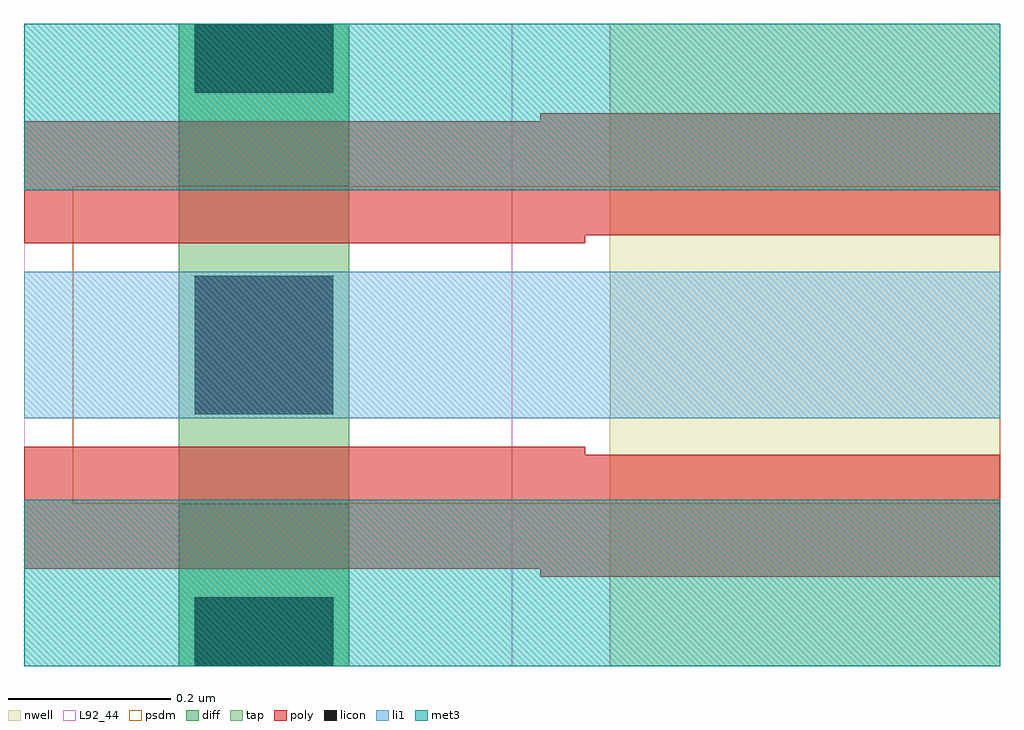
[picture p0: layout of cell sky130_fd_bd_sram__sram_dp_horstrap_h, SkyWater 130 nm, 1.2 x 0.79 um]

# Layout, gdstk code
import gdstk
lib = gdstk.Library(unit=1e-6, precision=1e-09)
def R(c, l, rs):  # rectangles x0, y0, x1, y1
    for r in rs: c.add(gdstk.rectangle(r[:2], r[2:], *l))
def P(c, l, *ps):  # polygons
    for p in ps: c.add(gdstk.Polygon(p, *l))
nwell = (64, 20)
diff = (65, 20)
tap = (65, 44)
poly = (66, 20)
licon = (66, 44)
li1 = (67, 20)
met3 = (70, 20)
L92_44 = (92, 44)
psdm = (94, 20)

sky130_fd_bd_sram__sram_ = lib.new_cell('sky130_fd_bd_sram__sram_dp_cell_half_wl')
P(sky130_fd_bd_sram__sram_, poly, [(0.635,-0.01),(0.635,0),(0,0),(0,0.15),(0.69,0.15),(0.69,0.14),(1.2,0.14),(1.2,-0.01)])

c_sky130_fd_bd_sram__sram_ = lib.new_cell('sky130_fd_bd_sram__sram_dp_horstrap_h')
R(c_sky130_fd_bd_sram__sram_, nwell, [(0.72,0,1.2,0.79)])
R(c_sky130_fd_bd_sram__sram_, diff, [(0.19,0,0.4,0.2), (0.19,0.59,0.4,0.79)])
R(c_sky130_fd_bd_sram__sram_, tap, [(0.19,0.2,0.4,0.59)])
R(c_sky130_fd_bd_sram__sram_, licon, [(0.21,0,0.38,0.085), (0.21,0.31,0.38,0.48), (0.21,0.705,0.38,0.79)])
R(c_sky130_fd_bd_sram__sram_, li1, [(0,0.305,0.525,0.485), (0.525,0.305,1.2,0.485)])
R(c_sky130_fd_bd_sram__sram_, met3, [(0,0,1.2,0.205), (0,0.585,1.2,0.79)])
R(c_sky130_fd_bd_sram__sram_, L92_44, [(0,0,0.6,0.79)])
R(c_sky130_fd_bd_sram__sram_, psdm, [(0.06,0.2,1.2,0.59)])
c_sky130_fd_bd_sram__sram_.add(gdstk.Reference(sky130_fd_bd_sram__sram_, (0,0.12)))
c_sky130_fd_bd_sram__sram_.add(gdstk.Reference(sky130_fd_bd_sram__sram_, (0,0.67), x_reflection=True))

lib.write_gds('sky130_fd_bd_sram__sram_dp_horstrap_h.gds')
